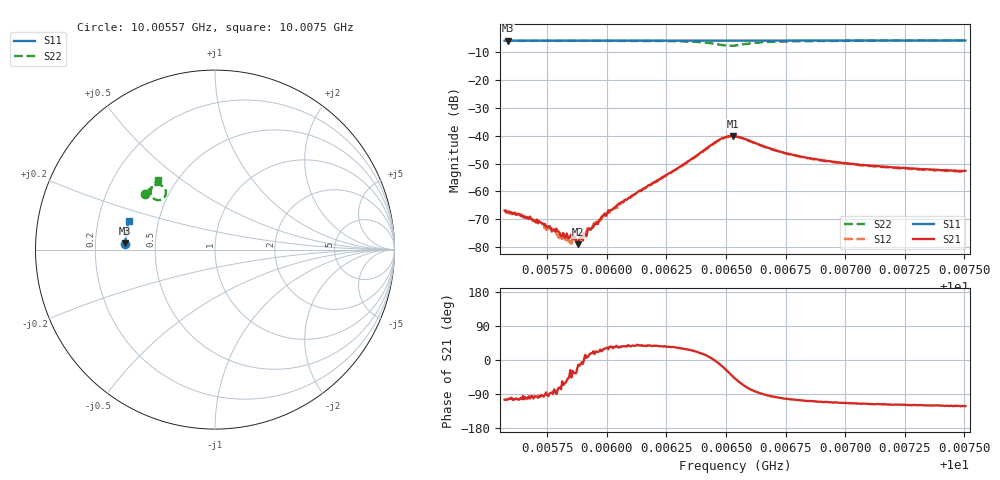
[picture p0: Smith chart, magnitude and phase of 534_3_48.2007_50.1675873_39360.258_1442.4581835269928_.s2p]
#  HZ  S  RI  R  50.00
! Rohde & Schwarz Vector Network Analyzer
! Rohde-Schwarz,ZNB20-2Port,1311601062101988,3.16
! Created: UTC 3/20/2024, 12:00:01 PM
! freq[Hz]  re:S11  im:S11  re:S21  im:S21  re:S12  im:S12  re:S22  im:S22
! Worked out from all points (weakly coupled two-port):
!   401 points, 10.00557 GHz to 10.0075 GHz, reference 50 ohm
!   highest |S21| = -40.12 dB at 10.00653 GHz (marker M1); lowest = -79.0 dB at 10.00588 GHz (marker M2)
!   lowest |S11| = -6.0 dB at 10.00559 GHz (marker M3), VSWR 3.01, Z = 16.6 + j1.54 ohm
!   |S11| at or under -10 dB: nowhere
!   |S22| runs from -7.8 to -6.0 dB; largest |S21 - S12| = 0.00064
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1.0005571e10  -0.5002 0.0337  -0.000116 -0.000444  -8.3e-05 -0.000414  -0.3877 0.3105
1.0005586e10  -0.5 0.0346  -0.000107 -0.000421  -6.86e-05 -0.000409  -0.3871 0.3113
1.0005624e10  -0.5 0.0373  -8.72e-05 -0.000383  -8.44e-05 -0.000384  -0.3853 0.3136
1.0005726e10  -0.4998 0.0438  -1.09e-05 -0.00027  -6.34e-05 -0.000269  -0.3806 0.3198
1.0005745e10  -0.4997 0.045  1.77e-05 -0.000234  3.13e-06 -0.000191  -0.3796 0.321
1.0005774e10  -0.4994 0.0469  2.55e-06 -0.000201  4.18e-05 -0.000221  -0.3782 0.3228
1.0005803e10  -0.4994 0.049  5.33e-05 -0.00017  4.98e-05 -0.000136  -0.3767 0.3245
1.0005818e10  -0.4993 0.0498  7.28e-05 -0.000162  7.46e-05 -0.00018  -0.3759 0.3255
1.0005842e10  -0.4992 0.0514  0.000101 -0.000103  8.39e-05 -9.65e-05  -0.3747 0.3269
1.000588e10  -0.4989 0.0539  0.00011 -2.39e-05  0.000126 -2.01e-05  -0.3725 0.3293
1.0005895e10  -0.4989 0.0548  0.000143 -1.5e-05  0.000194 -1.86e-05  -0.3717 0.3304
1.0005982e10  -0.4984 0.0606  0.000329 0.000156  0.000308 0.000196  -0.3663 0.3361
1.0006016e10  -0.4983 0.0628  0.000381 0.000266  0.000337 0.000252  -0.3641 0.3383
1.0006069e10  -0.498 0.0662  0.000527 0.000388  0.000477 0.000426  -0.3601 0.3421
1.0006219e10  -0.4968 0.0758  0.00132 0.000972  0.00126 0.00103  -0.3453 0.3531
1.000647e10  -0.4938 0.092  0.00824 -0.00132  0.00809 -0.00089  -0.2744 0.328
1.0006528e10  -0.493 0.0949  0.00719 -0.00674  0.00744 -0.00622  -0.2934 0.2817
1.0006538e10  -0.4933 0.0955  0.00647 -0.00737  0.00676 -0.00681  -0.3013 0.2779
1.0006721e10  -0.492 0.1072  -0.000847 -0.00518  -0.000584 -0.00518  -0.3581 0.3234
1.0006861e10  -0.4902 0.1163  -0.00122 -0.00366  -0.00106 -0.00364  -0.3521 0.345
1.0007185e10  -0.4857 0.1368  -0.00127 -0.00241  -0.0011 -0.00246  -0.3341 0.3711
1.0007504e10  -0.4803 0.1566  -0.00123 -0.00199  -0.00109 -0.00201  -0.3174 0.3886
